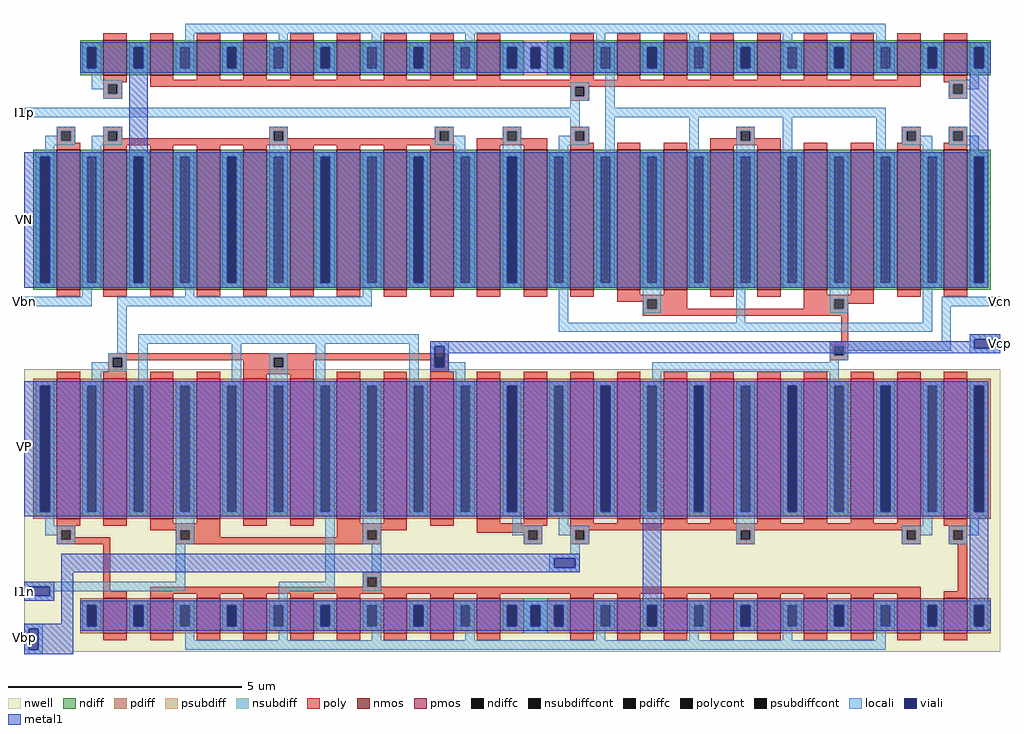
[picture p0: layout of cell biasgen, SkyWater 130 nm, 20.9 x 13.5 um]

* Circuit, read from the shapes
.subckt biasgen VP VN I1p Vbn I1n Vbp Vcp Vcn
XM1 Vbn VN VN VN sky130_fd_pr__nfet_01v8 w=3 l=0.5 m=2
XM2 VN Vbn Vbn VN sky130_fd_pr__nfet_01v8 w=3 l=0.5 m=4
XM3 VN VN VN VN sky130_fd_pr__nfet_01v8 w=0.75 l=0.5 m=2
XM4 Vcp Vbn VN VN sky130_fd_pr__nfet_01v8 w=3 l=0.5 m=4
XM5 n1 I1p VN VN sky130_fd_pr__nfet_01v8 w=0.75 l=0.5 m=16
XM6 I1p VN VN VN sky130_fd_pr__nfet_01v8 w=3 l=0.5 m=2
XM7 n1 I1p I1p VN sky130_fd_pr__nfet_01v8 w=3 l=0.5 m=4
XM8 Vcn Vcn n1 VN sky130_fd_pr__nfet_01v8 w=3 l=0.5 m=4
XM9 Vcp VP VP VP sky130_fd_pr__pfet_01v8 w=3 l=0.5 m=2
XM10 VP VP VP VP sky130_fd_pr__pfet_01v8 w=0.75 l=0.5 m=2
XM11 n2 Vcp Vcp VP sky130_fd_pr__pfet_01v8 w=3 l=0.5 m=4
XM12 n2 I1n VP VP sky130_fd_pr__pfet_01v8 w=0.75 l=0.5 m=16
XM13 I1n I1n n2 VP sky130_fd_pr__pfet_01v8 w=3 l=0.5 m=4
XM14 Vbp VP VP VP sky130_fd_pr__pfet_01v8 w=3 l=0.5 m=2
XM15 VP Vbp Vbp VP sky130_fd_pr__pfet_01v8 w=3 l=0.5 m=4
XM16 Vcn Vbp VP VP sky130_fd_pr__pfet_01v8 w=3 l=0.5 m=4
.ends

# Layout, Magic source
magic
tech sky130A
<< nwell >>
rect 60 -1495 2150 -890
rect 60 -1500 165 -1495
<< nmos >>
rect 230 -260 280 -185
rect 330 -260 380 -185
rect 430 -260 480 -185
rect 530 -260 580 -185
rect 630 -260 680 -185
rect 730 -260 780 -185
rect 830 -260 880 -185
rect 930 -260 980 -185
rect 1030 -260 1080 -185
rect 1230 -260 1280 -185
rect 1330 -260 1380 -185
rect 1430 -260 1480 -185
rect 1530 -260 1580 -185
rect 1630 -260 1680 -185
rect 1730 -260 1780 -185
rect 1830 -260 1880 -185
rect 1930 -260 1980 -185
rect 2030 -260 2080 -185
rect 130 -720 180 -420
rect 230 -720 280 -420
rect 330 -720 380 -420
rect 430 -720 480 -420
rect 530 -720 580 -420
rect 630 -720 680 -420
rect 730 -720 780 -420
rect 830 -720 880 -420
rect 930 -720 980 -420
rect 1030 -720 1080 -420
rect 1130 -720 1180 -420
rect 1230 -720 1280 -420
rect 1330 -720 1380 -420
rect 1430 -720 1480 -420
rect 1530 -720 1580 -420
rect 1630 -720 1680 -420
rect 1730 -720 1780 -420
rect 1830 -720 1880 -420
rect 1930 -720 1980 -420
rect 2030 -720 2080 -420
<< pmos >>
rect 130 -1210 180 -910
rect 230 -1210 280 -910
rect 330 -1210 380 -910
rect 430 -1210 480 -910
rect 530 -1210 580 -910
rect 630 -1210 680 -910
rect 730 -1210 780 -910
rect 830 -1210 880 -910
rect 930 -1210 980 -910
rect 1030 -1210 1080 -910
rect 1130 -1210 1180 -910
rect 1230 -1210 1280 -910
rect 1330 -1210 1380 -910
rect 1430 -1210 1480 -910
rect 1530 -1210 1580 -910
rect 1630 -1210 1680 -910
rect 1730 -1210 1780 -910
rect 1830 -1210 1880 -910
rect 1930 -1210 1980 -910
rect 2030 -1210 2080 -910
rect 230 -1455 280 -1380
rect 330 -1455 380 -1380
rect 430 -1455 480 -1380
rect 530 -1455 580 -1380
rect 630 -1455 680 -1380
rect 730 -1455 780 -1380
rect 830 -1455 880 -1380
rect 930 -1455 980 -1380
rect 1030 -1455 1080 -1380
rect 1230 -1455 1280 -1380
rect 1330 -1455 1380 -1380
rect 1430 -1455 1480 -1380
rect 1530 -1455 1580 -1380
rect 1630 -1455 1680 -1380
rect 1730 -1455 1780 -1380
rect 1830 -1455 1880 -1380
rect 1930 -1455 1980 -1380
rect 2030 -1455 2080 -1380
<< ndiff >>
rect 180 -200 230 -185
rect 180 -245 195 -200
rect 215 -245 230 -200
rect 180 -260 230 -245
rect 280 -200 330 -185
rect 280 -245 295 -200
rect 315 -245 330 -200
rect 280 -260 330 -245
rect 380 -200 430 -185
rect 380 -245 395 -200
rect 415 -245 430 -200
rect 380 -260 430 -245
rect 480 -200 530 -185
rect 480 -245 495 -200
rect 515 -245 530 -200
rect 480 -260 530 -245
rect 580 -200 630 -185
rect 580 -245 595 -200
rect 615 -245 630 -200
rect 580 -260 630 -245
rect 680 -200 730 -185
rect 680 -245 695 -200
rect 715 -245 730 -200
rect 680 -260 730 -245
rect 780 -200 830 -185
rect 780 -245 795 -200
rect 815 -245 830 -200
rect 780 -260 830 -245
rect 880 -200 930 -185
rect 880 -245 895 -200
rect 915 -245 930 -200
rect 880 -260 930 -245
rect 980 -200 1030 -185
rect 980 -245 995 -200
rect 1015 -245 1030 -200
rect 980 -260 1030 -245
rect 1080 -200 1130 -185
rect 1180 -200 1230 -185
rect 1080 -245 1095 -200
rect 1115 -245 1130 -200
rect 1180 -245 1195 -200
rect 1215 -245 1230 -200
rect 1080 -260 1130 -245
rect 1180 -260 1230 -245
rect 1280 -200 1330 -185
rect 1280 -245 1295 -200
rect 1315 -245 1330 -200
rect 1280 -260 1330 -245
rect 1380 -200 1430 -185
rect 1380 -245 1395 -200
rect 1415 -245 1430 -200
rect 1380 -260 1430 -245
rect 1480 -200 1530 -185
rect 1480 -245 1495 -200
rect 1515 -245 1530 -200
rect 1480 -260 1530 -245
rect 1580 -200 1630 -185
rect 1580 -245 1595 -200
rect 1615 -245 1630 -200
rect 1580 -260 1630 -245
rect 1680 -200 1730 -185
rect 1680 -245 1695 -200
rect 1715 -245 1730 -200
rect 1680 -260 1730 -245
rect 1780 -200 1830 -185
rect 1780 -245 1795 -200
rect 1815 -245 1830 -200
rect 1780 -260 1830 -245
rect 1880 -200 1930 -185
rect 1880 -245 1895 -200
rect 1915 -245 1930 -200
rect 1880 -260 1930 -245
rect 1980 -200 2030 -185
rect 1980 -245 1995 -200
rect 2015 -245 2030 -200
rect 1980 -260 2030 -245
rect 2080 -200 2130 -185
rect 2080 -245 2095 -200
rect 2115 -245 2130 -200
rect 2080 -260 2130 -245
rect 80 -435 130 -420
rect 80 -705 95 -435
rect 115 -705 130 -435
rect 80 -720 130 -705
rect 180 -435 230 -420
rect 180 -705 195 -435
rect 215 -705 230 -435
rect 180 -720 230 -705
rect 280 -435 330 -420
rect 280 -705 295 -435
rect 315 -705 330 -435
rect 280 -720 330 -705
rect 380 -435 430 -420
rect 380 -705 395 -435
rect 415 -705 430 -435
rect 380 -720 430 -705
rect 480 -435 530 -420
rect 480 -705 495 -435
rect 515 -705 530 -435
rect 480 -720 530 -705
rect 580 -435 630 -420
rect 580 -705 595 -435
rect 615 -705 630 -435
rect 580 -720 630 -705
rect 680 -435 730 -420
rect 680 -705 695 -435
rect 715 -705 730 -435
rect 680 -720 730 -705
rect 780 -435 830 -420
rect 780 -705 795 -435
rect 815 -705 830 -435
rect 780 -720 830 -705
rect 880 -435 930 -420
rect 880 -705 895 -435
rect 915 -705 930 -435
rect 880 -720 930 -705
rect 980 -435 1030 -420
rect 980 -705 995 -435
rect 1015 -705 1030 -435
rect 980 -720 1030 -705
rect 1080 -435 1130 -420
rect 1080 -705 1095 -435
rect 1115 -705 1130 -435
rect 1080 -720 1130 -705
rect 1180 -435 1230 -420
rect 1180 -705 1195 -435
rect 1215 -705 1230 -435
rect 1180 -720 1230 -705
rect 1280 -435 1330 -420
rect 1280 -705 1295 -435
rect 1315 -705 1330 -435
rect 1280 -720 1330 -705
rect 1380 -435 1430 -420
rect 1380 -705 1395 -435
rect 1415 -705 1430 -435
rect 1380 -720 1430 -705
rect 1480 -435 1530 -420
rect 1480 -705 1495 -435
rect 1515 -705 1530 -435
rect 1480 -720 1530 -705
rect 1580 -435 1630 -420
rect 1580 -705 1595 -435
rect 1615 -705 1630 -435
rect 1580 -720 1630 -705
rect 1680 -435 1730 -420
rect 1680 -705 1695 -435
rect 1715 -705 1730 -435
rect 1680 -720 1730 -705
rect 1780 -435 1830 -420
rect 1780 -705 1795 -435
rect 1815 -705 1830 -435
rect 1780 -720 1830 -705
rect 1880 -435 1930 -420
rect 1880 -705 1895 -435
rect 1915 -705 1930 -435
rect 1880 -720 1930 -705
rect 1980 -435 2030 -420
rect 1980 -705 1995 -435
rect 2015 -705 2030 -435
rect 1980 -720 2030 -705
rect 2080 -435 2130 -420
rect 2080 -705 2095 -435
rect 2115 -705 2130 -435
rect 2080 -720 2130 -705
<< pdiff >>
rect 80 -925 130 -910
rect 80 -1195 95 -925
rect 115 -1195 130 -925
rect 80 -1210 130 -1195
rect 180 -925 230 -910
rect 180 -1195 195 -925
rect 215 -1195 230 -925
rect 180 -1210 230 -1195
rect 280 -925 330 -910
rect 280 -1195 295 -925
rect 315 -1195 330 -925
rect 280 -1210 330 -1195
rect 380 -925 430 -910
rect 380 -1195 395 -925
rect 415 -1195 430 -925
rect 380 -1210 430 -1195
rect 480 -925 530 -910
rect 480 -1195 495 -925
rect 515 -1195 530 -925
rect 480 -1210 530 -1195
rect 580 -925 630 -910
rect 580 -1195 595 -925
rect 615 -1195 630 -925
rect 580 -1210 630 -1195
rect 680 -925 730 -910
rect 680 -1195 695 -925
rect 715 -1195 730 -925
rect 680 -1210 730 -1195
rect 780 -925 830 -910
rect 780 -1195 795 -925
rect 815 -1195 830 -925
rect 780 -1210 830 -1195
rect 880 -925 930 -910
rect 880 -1195 895 -925
rect 915 -1195 930 -925
rect 880 -1210 930 -1195
rect 980 -925 1030 -910
rect 980 -1195 995 -925
rect 1015 -1195 1030 -925
rect 980 -1210 1030 -1195
rect 1080 -925 1130 -910
rect 1080 -1195 1095 -925
rect 1115 -1195 1130 -925
rect 1080 -1210 1130 -1195
rect 1180 -925 1230 -910
rect 1180 -1195 1195 -925
rect 1215 -1195 1230 -925
rect 1180 -1210 1230 -1195
rect 1280 -925 1330 -910
rect 1280 -1195 1295 -925
rect 1315 -1195 1330 -925
rect 1280 -1210 1330 -1195
rect 1380 -925 1430 -910
rect 1380 -1195 1395 -925
rect 1415 -1195 1430 -925
rect 1380 -1210 1430 -1195
rect 1480 -925 1530 -910
rect 1480 -1195 1495 -925
rect 1515 -1195 1530 -925
rect 1480 -1210 1530 -1195
rect 1580 -925 1630 -910
rect 1580 -1195 1595 -925
rect 1615 -1195 1630 -925
rect 1580 -1210 1630 -1195
rect 1680 -925 1730 -910
rect 1680 -1195 1695 -925
rect 1715 -1195 1730 -925
rect 1680 -1210 1730 -1195
rect 1780 -925 1830 -910
rect 1780 -1195 1795 -925
rect 1815 -1195 1830 -925
rect 1780 -1210 1830 -1195
rect 1880 -925 1930 -910
rect 1880 -1195 1895 -925
rect 1915 -1195 1930 -925
rect 1880 -1210 1930 -1195
rect 1980 -925 2030 -910
rect 1980 -1195 1995 -925
rect 2015 -1195 2030 -925
rect 1980 -1210 2030 -1195
rect 2080 -925 2130 -910
rect 2080 -1195 2095 -925
rect 2115 -1195 2130 -925
rect 2080 -1210 2130 -1195
rect 180 -1395 230 -1380
rect 180 -1440 195 -1395
rect 215 -1440 230 -1395
rect 180 -1455 230 -1440
rect 280 -1395 330 -1380
rect 280 -1440 295 -1395
rect 315 -1440 330 -1395
rect 280 -1455 330 -1440
rect 380 -1395 430 -1380
rect 380 -1440 395 -1395
rect 415 -1440 430 -1395
rect 380 -1455 430 -1440
rect 480 -1395 530 -1380
rect 480 -1440 495 -1395
rect 515 -1440 530 -1395
rect 480 -1455 530 -1440
rect 580 -1395 630 -1380
rect 580 -1440 595 -1395
rect 615 -1440 630 -1395
rect 580 -1455 630 -1440
rect 680 -1395 730 -1380
rect 680 -1440 695 -1395
rect 715 -1440 730 -1395
rect 680 -1455 730 -1440
rect 780 -1395 830 -1380
rect 780 -1440 795 -1395
rect 815 -1440 830 -1395
rect 780 -1455 830 -1440
rect 880 -1395 930 -1380
rect 880 -1440 895 -1395
rect 915 -1440 930 -1395
rect 880 -1455 930 -1440
rect 980 -1395 1030 -1380
rect 980 -1440 995 -1395
rect 1015 -1440 1030 -1395
rect 980 -1455 1030 -1440
rect 1080 -1395 1130 -1380
rect 1180 -1395 1230 -1380
rect 1080 -1440 1095 -1395
rect 1115 -1440 1130 -1395
rect 1180 -1440 1195 -1395
rect 1215 -1440 1230 -1395
rect 1080 -1455 1130 -1440
rect 1180 -1455 1230 -1440
rect 1280 -1395 1330 -1380
rect 1280 -1440 1295 -1395
rect 1315 -1440 1330 -1395
rect 1280 -1455 1330 -1440
rect 1380 -1395 1430 -1380
rect 1380 -1440 1395 -1395
rect 1415 -1440 1430 -1395
rect 1380 -1455 1430 -1440
rect 1480 -1395 1530 -1380
rect 1480 -1440 1495 -1395
rect 1515 -1440 1530 -1395
rect 1480 -1455 1530 -1440
rect 1580 -1395 1630 -1380
rect 1580 -1440 1595 -1395
rect 1615 -1440 1630 -1395
rect 1580 -1455 1630 -1440
rect 1680 -1395 1730 -1380
rect 1680 -1440 1695 -1395
rect 1715 -1440 1730 -1395
rect 1680 -1455 1730 -1440
rect 1780 -1395 1830 -1380
rect 1780 -1440 1795 -1395
rect 1815 -1440 1830 -1395
rect 1780 -1455 1830 -1440
rect 1880 -1395 1930 -1380
rect 1880 -1440 1895 -1395
rect 1915 -1440 1930 -1395
rect 1880 -1455 1930 -1440
rect 1980 -1395 2030 -1380
rect 1980 -1440 1995 -1395
rect 2015 -1440 2030 -1395
rect 1980 -1455 2030 -1440
rect 2080 -1395 2130 -1380
rect 2080 -1440 2095 -1395
rect 2115 -1440 2130 -1395
rect 2080 -1455 2130 -1440
<< ndiffc >>
rect 195 -245 215 -200
rect 295 -245 315 -200
rect 395 -245 415 -200
rect 495 -245 515 -200
rect 595 -245 615 -200
rect 695 -245 715 -200
rect 795 -245 815 -200
rect 895 -245 915 -200
rect 995 -245 1015 -200
rect 1095 -245 1115 -200
rect 1195 -245 1215 -200
rect 1295 -245 1315 -200
rect 1395 -245 1415 -200
rect 1495 -245 1515 -200
rect 1595 -245 1615 -200
rect 1695 -245 1715 -200
rect 1795 -245 1815 -200
rect 1895 -245 1915 -200
rect 1995 -245 2015 -200
rect 2095 -245 2115 -200
rect 95 -705 115 -435
rect 195 -705 215 -435
rect 295 -705 315 -435
rect 395 -705 415 -435
rect 495 -705 515 -435
rect 595 -705 615 -435
rect 695 -705 715 -435
rect 795 -705 815 -435
rect 895 -705 915 -435
rect 995 -705 1015 -435
rect 1095 -705 1115 -435
rect 1195 -705 1215 -435
rect 1295 -705 1315 -435
rect 1395 -705 1415 -435
rect 1495 -705 1515 -435
rect 1595 -705 1615 -435
rect 1695 -705 1715 -435
rect 1795 -705 1815 -435
rect 1895 -705 1915 -435
rect 1995 -705 2015 -435
rect 2095 -705 2115 -435
<< pdiffc >>
rect 95 -1195 115 -925
rect 195 -1195 215 -925
rect 295 -1195 315 -925
rect 395 -1195 415 -925
rect 495 -1195 515 -925
rect 595 -1195 615 -925
rect 695 -1195 715 -925
rect 795 -1195 815 -925
rect 895 -1195 915 -925
rect 995 -1195 1015 -925
rect 1095 -1195 1115 -925
rect 1195 -1195 1215 -925
rect 1295 -1195 1315 -925
rect 1395 -1195 1415 -925
rect 1495 -1195 1515 -925
rect 1595 -1195 1615 -925
rect 1695 -1195 1715 -925
rect 1795 -1195 1815 -925
rect 1895 -1195 1915 -925
rect 1995 -1195 2015 -925
rect 2095 -1195 2115 -925
rect 195 -1440 215 -1395
rect 295 -1440 315 -1395
rect 395 -1440 415 -1395
rect 495 -1440 515 -1395
rect 595 -1440 615 -1395
rect 695 -1440 715 -1395
rect 795 -1440 815 -1395
rect 895 -1440 915 -1395
rect 995 -1440 1015 -1395
rect 1095 -1440 1115 -1395
rect 1195 -1440 1215 -1395
rect 1295 -1440 1315 -1395
rect 1395 -1440 1415 -1395
rect 1495 -1440 1515 -1395
rect 1595 -1440 1615 -1395
rect 1695 -1440 1715 -1395
rect 1795 -1440 1815 -1395
rect 1895 -1440 1915 -1395
rect 1995 -1440 2015 -1395
rect 2095 -1440 2115 -1395
<< psubdiff >>
rect 1130 -200 1180 -185
rect 1130 -245 1145 -200
rect 1165 -245 1180 -200
rect 1130 -260 1180 -245
<< nsubdiff >>
rect 1130 -1395 1180 -1380
rect 1130 -1440 1145 -1395
rect 1165 -1440 1180 -1395
rect 1130 -1455 1180 -1440
<< psubdiffcont >>
rect 1145 -245 1165 -200
<< nsubdiffcont >>
rect 1145 -1440 1165 -1395
<< poly >>
rect 230 -185 280 -170
rect 330 -185 380 -170
rect 430 -185 480 -170
rect 530 -185 580 -170
rect 630 -185 680 -170
rect 730 -185 780 -170
rect 830 -185 880 -170
rect 930 -185 980 -170
rect 1030 -185 1080 -170
rect 1230 -185 1280 -170
rect 1330 -185 1380 -170
rect 1430 -185 1480 -170
rect 1530 -185 1580 -170
rect 1630 -185 1680 -170
rect 1730 -185 1780 -170
rect 1830 -185 1880 -170
rect 1930 -185 1980 -170
rect 2030 -185 2080 -170
rect 230 -275 280 -260
rect 330 -270 380 -260
rect 430 -270 480 -260
rect 530 -270 580 -260
rect 630 -270 680 -260
rect 730 -270 780 -260
rect 830 -270 880 -260
rect 930 -270 980 -260
rect 1030 -270 1080 -260
rect 1230 -270 1280 -260
rect 1330 -270 1380 -260
rect 1430 -270 1480 -260
rect 1530 -270 1580 -260
rect 1630 -270 1680 -260
rect 1730 -270 1780 -260
rect 1830 -270 1880 -260
rect 1930 -270 1980 -260
rect 230 -280 270 -275
rect 230 -300 240 -280
rect 260 -300 270 -280
rect 330 -285 1980 -270
rect 2030 -275 2080 -260
rect 2040 -280 2080 -275
rect 230 -310 270 -300
rect 1230 -305 1240 -285
rect 1260 -305 1270 -285
rect 1230 -315 1270 -305
rect 2040 -300 2050 -280
rect 2070 -300 2080 -280
rect 2040 -310 2080 -300
rect 130 -380 170 -370
rect 130 -400 140 -380
rect 160 -400 170 -380
rect 130 -405 170 -400
rect 230 -380 270 -370
rect 230 -400 240 -380
rect 260 -395 270 -380
rect 585 -380 625 -370
rect 585 -395 595 -380
rect 260 -400 595 -395
rect 615 -395 625 -380
rect 940 -380 980 -370
rect 940 -395 950 -380
rect 615 -400 950 -395
rect 970 -400 980 -380
rect 1085 -380 1125 -370
rect 1085 -395 1095 -380
rect 130 -420 180 -405
rect 230 -410 980 -400
rect 230 -420 280 -410
rect 330 -420 380 -410
rect 430 -420 480 -410
rect 530 -420 580 -410
rect 630 -420 680 -410
rect 730 -420 780 -410
rect 830 -420 880 -410
rect 930 -420 980 -410
rect 1030 -400 1095 -395
rect 1115 -395 1125 -380
rect 1230 -380 1270 -370
rect 1115 -400 1180 -395
rect 1030 -410 1180 -400
rect 1030 -420 1080 -410
rect 1130 -420 1180 -410
rect 1230 -400 1240 -380
rect 1260 -400 1270 -380
rect 1585 -380 1625 -370
rect 1585 -395 1595 -380
rect 1230 -405 1270 -400
rect 1530 -400 1595 -395
rect 1615 -395 1625 -380
rect 1940 -380 1980 -370
rect 1615 -400 1680 -395
rect 1230 -420 1280 -405
rect 1330 -420 1380 -405
rect 1430 -420 1480 -405
rect 1530 -410 1680 -400
rect 1940 -400 1950 -380
rect 1970 -400 1980 -380
rect 1940 -405 1980 -400
rect 2040 -380 2080 -370
rect 2040 -400 2050 -380
rect 2070 -400 2080 -380
rect 2040 -405 2080 -400
rect 1530 -420 1580 -410
rect 1630 -420 1680 -410
rect 1730 -420 1780 -405
rect 1830 -420 1880 -405
rect 1930 -420 1980 -405
rect 2030 -420 2080 -405
rect 130 -735 180 -720
rect 230 -735 280 -720
rect 330 -735 380 -720
rect 430 -735 480 -720
rect 530 -735 580 -720
rect 630 -735 680 -720
rect 730 -735 780 -720
rect 830 -735 880 -720
rect 930 -735 980 -720
rect 1030 -735 1080 -720
rect 1130 -735 1180 -720
rect 1230 -735 1280 -720
rect 1330 -730 1380 -720
rect 1430 -730 1480 -720
rect 1330 -740 1480 -730
rect 1530 -735 1580 -720
rect 1630 -735 1680 -720
rect 1730 -730 1780 -720
rect 1830 -730 1880 -720
rect 1330 -745 1395 -740
rect 1385 -760 1395 -745
rect 1415 -760 1480 -740
rect 1730 -740 1880 -730
rect 1930 -735 1980 -720
rect 2030 -735 2080 -720
rect 1730 -760 1795 -740
rect 1815 -750 1880 -740
rect 1815 -760 1825 -750
rect 1385 -775 1825 -760
rect 1810 -830 1825 -775
rect 1785 -840 1825 -830
rect 240 -865 970 -855
rect 240 -885 250 -865
rect 270 -870 595 -865
rect 270 -885 280 -870
rect 240 -895 280 -885
rect 530 -885 595 -870
rect 615 -870 940 -865
rect 615 -885 680 -870
rect 130 -910 180 -895
rect 230 -910 280 -895
rect 330 -910 380 -895
rect 430 -910 480 -895
rect 530 -900 680 -885
rect 930 -885 940 -870
rect 960 -885 970 -865
rect 1785 -860 1795 -840
rect 1815 -860 1825 -840
rect 1785 -870 1825 -860
rect 930 -895 970 -885
rect 530 -910 580 -900
rect 630 -910 680 -900
rect 730 -910 780 -895
rect 830 -910 880 -895
rect 930 -910 980 -895
rect 1030 -910 1080 -895
rect 1130 -910 1180 -895
rect 1230 -910 1280 -895
rect 1330 -910 1380 -895
rect 1430 -910 1480 -895
rect 1530 -910 1580 -895
rect 1630 -910 1680 -895
rect 1730 -910 1780 -895
rect 1830 -910 1880 -895
rect 1930 -910 1980 -895
rect 2030 -910 2080 -895
rect 130 -1225 180 -1210
rect 230 -1225 280 -1210
rect 330 -1220 380 -1210
rect 430 -1220 480 -1210
rect 130 -1235 170 -1225
rect 330 -1235 480 -1220
rect 530 -1225 580 -1210
rect 630 -1225 680 -1210
rect 730 -1220 780 -1210
rect 830 -1220 880 -1210
rect 130 -1255 140 -1235
rect 160 -1250 170 -1235
rect 160 -1255 245 -1250
rect 130 -1265 245 -1255
rect 385 -1255 395 -1235
rect 415 -1250 480 -1235
rect 730 -1235 880 -1220
rect 930 -1225 980 -1210
rect 1030 -1220 1080 -1210
rect 1130 -1220 1180 -1210
rect 1030 -1225 1180 -1220
rect 1230 -1220 1280 -1210
rect 1330 -1220 1380 -1210
rect 1430 -1220 1480 -1210
rect 1530 -1220 1580 -1210
rect 1630 -1220 1680 -1210
rect 1730 -1220 1780 -1210
rect 1830 -1220 1880 -1210
rect 1930 -1220 1980 -1210
rect 1030 -1235 1170 -1225
rect 730 -1250 795 -1235
rect 415 -1255 795 -1250
rect 815 -1255 825 -1235
rect 1030 -1240 1140 -1235
rect 385 -1265 825 -1255
rect 1130 -1255 1140 -1240
rect 1160 -1255 1170 -1235
rect 1130 -1265 1170 -1255
rect 1230 -1235 1980 -1220
rect 2030 -1225 2080 -1210
rect 1230 -1255 1240 -1235
rect 1260 -1255 1270 -1235
rect 1230 -1265 1270 -1255
rect 1585 -1255 1595 -1235
rect 1615 -1255 1625 -1235
rect 1585 -1265 1625 -1255
rect 1940 -1255 1950 -1235
rect 1970 -1255 1980 -1235
rect 1940 -1265 1980 -1255
rect 2040 -1235 2080 -1225
rect 2040 -1255 2050 -1235
rect 2070 -1255 2080 -1235
rect 2040 -1265 2080 -1255
rect 230 -1365 245 -1265
rect 785 -1335 825 -1325
rect 785 -1355 795 -1335
rect 815 -1355 825 -1335
rect 230 -1380 280 -1365
rect 330 -1370 1980 -1355
rect 2060 -1365 2080 -1265
rect 330 -1380 380 -1370
rect 430 -1380 480 -1370
rect 530 -1380 580 -1370
rect 630 -1380 680 -1370
rect 730 -1380 780 -1370
rect 830 -1380 880 -1370
rect 930 -1380 980 -1370
rect 1030 -1380 1080 -1370
rect 1230 -1380 1280 -1370
rect 1330 -1380 1380 -1370
rect 1430 -1380 1480 -1370
rect 1530 -1380 1580 -1370
rect 1630 -1380 1680 -1370
rect 1730 -1380 1780 -1370
rect 1830 -1380 1880 -1370
rect 1930 -1380 1980 -1370
rect 2030 -1380 2080 -1365
rect 230 -1470 280 -1455
rect 330 -1470 380 -1455
rect 430 -1470 480 -1455
rect 530 -1470 580 -1455
rect 630 -1470 680 -1455
rect 730 -1470 780 -1455
rect 830 -1470 880 -1455
rect 930 -1470 980 -1455
rect 1030 -1470 1080 -1455
rect 1230 -1470 1280 -1455
rect 1330 -1470 1380 -1455
rect 1430 -1470 1480 -1455
rect 1530 -1470 1580 -1455
rect 1630 -1470 1680 -1455
rect 1730 -1470 1780 -1455
rect 1830 -1470 1880 -1455
rect 1930 -1470 1980 -1455
rect 2030 -1470 2080 -1455
<< polycont >>
rect 240 -300 260 -280
rect 1240 -305 1260 -285
rect 2050 -300 2070 -280
rect 140 -400 160 -380
rect 240 -400 260 -380
rect 595 -400 615 -380
rect 950 -400 970 -380
rect 1095 -400 1115 -380
rect 1240 -400 1260 -380
rect 1595 -400 1615 -380
rect 1950 -400 1970 -380
rect 2050 -400 2070 -380
rect 1395 -760 1415 -740
rect 1795 -760 1815 -740
rect 250 -885 270 -865
rect 595 -885 615 -865
rect 940 -885 960 -865
rect 1795 -860 1815 -840
rect 140 -1255 160 -1235
rect 395 -1255 415 -1235
rect 795 -1255 815 -1235
rect 1140 -1255 1160 -1235
rect 1240 -1255 1260 -1235
rect 1595 -1255 1615 -1235
rect 1950 -1255 1970 -1235
rect 2050 -1255 2070 -1235
rect 795 -1355 815 -1335
<< locali >>
rect 405 -170 1905 -150
rect 405 -190 425 -170
rect 605 -190 625 -170
rect 805 -190 825 -170
rect 1005 -190 1025 -170
rect 1285 -190 1305 -170
rect 1485 -190 1505 -170
rect 1685 -190 1705 -170
rect 1885 -190 1905 -170
rect 185 -200 225 -190
rect 185 -245 195 -200
rect 215 -245 225 -200
rect 185 -255 225 -245
rect 285 -200 325 -190
rect 285 -245 295 -200
rect 315 -245 325 -200
rect 285 -255 325 -245
rect 385 -200 425 -190
rect 385 -245 395 -200
rect 415 -245 425 -200
rect 385 -255 425 -245
rect 485 -200 525 -190
rect 485 -245 495 -200
rect 515 -245 525 -200
rect 485 -255 525 -245
rect 585 -200 625 -190
rect 585 -245 595 -200
rect 615 -245 625 -200
rect 585 -255 625 -245
rect 685 -200 725 -190
rect 685 -245 695 -200
rect 715 -245 725 -200
rect 685 -255 725 -245
rect 785 -200 825 -190
rect 785 -245 795 -200
rect 815 -245 825 -200
rect 785 -255 825 -245
rect 885 -200 925 -190
rect 885 -245 895 -200
rect 915 -245 925 -200
rect 885 -255 925 -245
rect 985 -200 1025 -190
rect 985 -245 995 -200
rect 1015 -245 1025 -200
rect 985 -255 1025 -245
rect 1085 -200 1225 -190
rect 1085 -245 1095 -200
rect 1115 -245 1145 -200
rect 1165 -245 1195 -200
rect 1215 -245 1225 -200
rect 1085 -255 1225 -245
rect 1285 -200 1325 -190
rect 1285 -245 1295 -200
rect 1315 -245 1325 -200
rect 1285 -255 1325 -245
rect 1385 -200 1425 -190
rect 1385 -245 1395 -200
rect 1415 -245 1425 -200
rect 1385 -255 1425 -245
rect 1485 -200 1525 -190
rect 1485 -245 1495 -200
rect 1515 -245 1525 -200
rect 1485 -255 1525 -245
rect 1585 -200 1625 -190
rect 1585 -245 1595 -200
rect 1615 -245 1625 -200
rect 1585 -255 1625 -245
rect 1685 -200 1725 -190
rect 1685 -245 1695 -200
rect 1715 -245 1725 -200
rect 1685 -255 1725 -245
rect 1785 -200 1825 -190
rect 1785 -245 1795 -200
rect 1815 -245 1825 -200
rect 1785 -255 1825 -245
rect 1885 -200 1925 -190
rect 1885 -245 1895 -200
rect 1915 -245 1925 -200
rect 1885 -255 1925 -245
rect 1985 -200 2025 -190
rect 1985 -245 1995 -200
rect 2015 -245 2025 -200
rect 1985 -255 2025 -245
rect 2085 -200 2125 -190
rect 2085 -245 2095 -200
rect 2115 -245 2125 -200
rect 2085 -255 2125 -245
rect 205 -270 225 -255
rect 205 -280 270 -270
rect 205 -290 240 -280
rect 230 -300 240 -290
rect 260 -300 270 -280
rect 230 -310 270 -300
rect 1230 -285 1270 -275
rect 1230 -305 1240 -285
rect 1260 -305 1270 -285
rect 1230 -315 1270 -305
rect 1230 -330 1250 -315
rect 60 -350 1250 -330
rect 1230 -370 1250 -350
rect 1305 -330 1325 -255
rect 2085 -270 2105 -255
rect 2040 -280 2105 -270
rect 2040 -300 2050 -280
rect 2070 -290 2105 -280
rect 2070 -300 2080 -290
rect 2040 -310 2080 -300
rect 1305 -350 1905 -330
rect 130 -380 170 -370
rect 130 -390 140 -380
rect 105 -400 140 -390
rect 160 -400 170 -380
rect 230 -380 270 -370
rect 230 -390 240 -380
rect 105 -410 170 -400
rect 205 -400 240 -390
rect 260 -400 270 -380
rect 205 -410 270 -400
rect 585 -380 625 -370
rect 585 -400 595 -380
rect 615 -400 625 -380
rect 105 -425 125 -410
rect 205 -425 225 -410
rect 85 -435 125 -425
rect 85 -705 95 -435
rect 115 -705 125 -435
rect 85 -715 125 -705
rect 185 -435 225 -425
rect 185 -705 195 -435
rect 215 -705 225 -435
rect 185 -715 225 -705
rect 285 -435 325 -425
rect 285 -705 295 -435
rect 315 -705 325 -435
rect 285 -715 325 -705
rect 385 -435 425 -425
rect 385 -705 395 -435
rect 415 -705 425 -435
rect 385 -715 425 -705
rect 485 -435 525 -425
rect 485 -705 495 -435
rect 515 -705 525 -435
rect 485 -715 525 -705
rect 585 -435 625 -400
rect 940 -380 980 -370
rect 940 -400 950 -380
rect 970 -390 980 -380
rect 1085 -380 1125 -370
rect 970 -400 1005 -390
rect 940 -410 1005 -400
rect 985 -425 1005 -410
rect 1085 -400 1095 -380
rect 1115 -400 1125 -380
rect 1230 -380 1270 -370
rect 1230 -390 1240 -380
rect 585 -705 595 -435
rect 615 -705 625 -435
rect 585 -715 625 -705
rect 685 -435 725 -425
rect 685 -705 695 -435
rect 715 -705 725 -435
rect 685 -715 725 -705
rect 785 -435 825 -425
rect 785 -705 795 -435
rect 815 -705 825 -435
rect 785 -715 825 -705
rect 885 -435 925 -425
rect 885 -705 895 -435
rect 915 -705 925 -435
rect 885 -715 925 -705
rect 985 -435 1025 -425
rect 985 -705 995 -435
rect 1015 -705 1025 -435
rect 985 -715 1025 -705
rect 1085 -435 1125 -400
rect 1205 -400 1240 -390
rect 1260 -400 1270 -380
rect 1205 -410 1270 -400
rect 1205 -425 1225 -410
rect 1305 -425 1325 -350
rect 1485 -425 1505 -350
rect 1585 -380 1625 -370
rect 1585 -400 1595 -380
rect 1615 -400 1625 -380
rect 1085 -705 1095 -435
rect 1115 -705 1125 -435
rect 1085 -715 1125 -705
rect 1185 -435 1225 -425
rect 1185 -705 1195 -435
rect 1215 -705 1225 -435
rect 1185 -715 1225 -705
rect 1285 -435 1325 -425
rect 1285 -705 1295 -435
rect 1315 -705 1325 -435
rect 1285 -715 1325 -705
rect 1385 -435 1425 -425
rect 1385 -705 1395 -435
rect 1415 -705 1425 -435
rect 185 -735 205 -715
rect 405 -735 425 -715
rect 785 -735 805 -715
rect 60 -755 205 -735
rect 260 -755 805 -735
rect 260 -855 280 -755
rect 1205 -790 1225 -715
rect 1385 -740 1425 -705
rect 1485 -435 1525 -425
rect 1485 -705 1495 -435
rect 1515 -705 1525 -435
rect 1485 -715 1525 -705
rect 1585 -435 1625 -400
rect 1585 -705 1595 -435
rect 1615 -705 1625 -435
rect 1585 -715 1625 -705
rect 1685 -425 1705 -350
rect 1885 -425 1905 -350
rect 1940 -380 1980 -370
rect 1940 -400 1950 -380
rect 1970 -390 1980 -380
rect 2040 -380 2080 -370
rect 1970 -400 2005 -390
rect 1940 -410 2005 -400
rect 2040 -400 2050 -380
rect 2070 -390 2080 -380
rect 2070 -400 2105 -390
rect 2040 -410 2105 -400
rect 1985 -425 2005 -410
rect 2085 -425 2105 -410
rect 1685 -435 1725 -425
rect 1685 -705 1695 -435
rect 1715 -705 1725 -435
rect 1685 -715 1725 -705
rect 1785 -435 1825 -425
rect 1785 -705 1795 -435
rect 1815 -705 1825 -435
rect 1385 -760 1395 -740
rect 1415 -760 1425 -740
rect 1385 -770 1425 -760
rect 1585 -790 1605 -715
rect 1785 -740 1825 -705
rect 1885 -435 1925 -425
rect 1885 -705 1895 -435
rect 1915 -705 1925 -435
rect 1885 -715 1925 -705
rect 1985 -435 2025 -425
rect 1985 -705 1995 -435
rect 2015 -705 2025 -435
rect 1985 -715 2025 -705
rect 2085 -435 2125 -425
rect 2085 -705 2095 -435
rect 2115 -705 2125 -435
rect 2085 -715 2125 -705
rect 1785 -760 1795 -740
rect 1815 -760 1825 -740
rect 1785 -770 1825 -760
rect 1985 -790 2005 -715
rect 1205 -810 2005 -790
rect 2025 -755 2150 -735
rect 240 -865 280 -855
rect 240 -875 250 -865
rect 205 -885 250 -875
rect 270 -885 280 -865
rect 205 -895 280 -885
rect 305 -835 905 -815
rect 2025 -830 2045 -755
rect 205 -915 225 -895
rect 305 -915 325 -835
rect 505 -915 525 -835
rect 85 -925 125 -915
rect 85 -1195 95 -925
rect 115 -1195 125 -925
rect 85 -1205 125 -1195
rect 185 -925 225 -915
rect 185 -1195 195 -925
rect 215 -1195 225 -925
rect 185 -1205 225 -1195
rect 285 -925 325 -915
rect 285 -1195 295 -925
rect 315 -1195 325 -925
rect 285 -1205 325 -1195
rect 385 -925 425 -915
rect 385 -1195 395 -925
rect 415 -1195 425 -925
rect 105 -1225 125 -1205
rect 105 -1235 170 -1225
rect 105 -1245 140 -1235
rect 130 -1255 140 -1245
rect 160 -1255 170 -1235
rect 130 -1265 170 -1255
rect 385 -1235 425 -1195
rect 485 -925 525 -915
rect 485 -1195 495 -925
rect 515 -1195 525 -925
rect 485 -1205 525 -1195
rect 585 -865 625 -855
rect 585 -885 595 -865
rect 615 -885 625 -865
rect 585 -925 625 -885
rect 585 -1195 595 -925
rect 615 -1195 625 -925
rect 585 -1205 625 -1195
rect 685 -915 705 -835
rect 885 -915 905 -835
rect 930 -840 970 -830
rect 930 -885 940 -840
rect 960 -875 970 -840
rect 1785 -840 2045 -830
rect 1785 -860 1795 -840
rect 1815 -850 2045 -840
rect 2085 -825 2150 -815
rect 2085 -845 2095 -825
rect 2140 -845 2150 -825
rect 1815 -860 1825 -850
rect 2085 -855 2150 -845
rect 1785 -870 1825 -860
rect 1785 -875 1805 -870
rect 960 -885 1005 -875
rect 930 -895 1005 -885
rect 985 -915 1005 -895
rect 1405 -895 1805 -875
rect 1405 -915 1425 -895
rect 1785 -915 1805 -895
rect 685 -925 725 -915
rect 685 -1195 695 -925
rect 715 -1195 725 -925
rect 685 -1205 725 -1195
rect 385 -1255 395 -1235
rect 415 -1255 425 -1235
rect 385 -1265 425 -1255
rect 385 -1345 405 -1265
rect 705 -1345 725 -1205
rect 785 -925 825 -915
rect 785 -1195 795 -925
rect 815 -1195 825 -925
rect 785 -1235 825 -1195
rect 885 -925 925 -915
rect 885 -1195 895 -925
rect 915 -1195 925 -925
rect 885 -1205 925 -1195
rect 985 -925 1025 -915
rect 985 -1195 995 -925
rect 1015 -1195 1025 -925
rect 985 -1205 1025 -1195
rect 1085 -925 1125 -915
rect 1085 -1195 1095 -925
rect 1115 -1195 1125 -925
rect 1085 -1205 1125 -1195
rect 1185 -925 1225 -915
rect 1185 -1195 1195 -925
rect 1215 -1195 1225 -925
rect 1185 -1205 1225 -1195
rect 1285 -925 1325 -915
rect 1285 -1195 1295 -925
rect 1315 -1195 1325 -925
rect 1285 -1205 1325 -1195
rect 1385 -925 1425 -915
rect 1385 -1195 1395 -925
rect 1415 -1195 1425 -925
rect 1385 -1205 1425 -1195
rect 1485 -925 1525 -915
rect 1485 -1195 1495 -925
rect 1515 -1195 1525 -925
rect 1485 -1205 1525 -1195
rect 1585 -925 1625 -915
rect 1585 -1195 1595 -925
rect 1615 -1195 1625 -925
rect 785 -1255 795 -1235
rect 815 -1255 825 -1235
rect 1105 -1225 1125 -1205
rect 1205 -1225 1225 -1205
rect 1105 -1235 1170 -1225
rect 1105 -1245 1140 -1235
rect 785 -1265 825 -1255
rect 1130 -1255 1140 -1245
rect 1160 -1255 1170 -1235
rect 1205 -1235 1270 -1225
rect 1205 -1245 1240 -1235
rect 1130 -1265 1170 -1255
rect 1230 -1255 1240 -1245
rect 1260 -1255 1270 -1235
rect 1230 -1265 1270 -1255
rect 1585 -1235 1625 -1195
rect 1685 -925 1725 -915
rect 1685 -1195 1695 -925
rect 1715 -1195 1725 -925
rect 1685 -1205 1725 -1195
rect 1785 -925 1825 -915
rect 1785 -1195 1795 -925
rect 1815 -1195 1825 -925
rect 1785 -1205 1825 -1195
rect 1885 -925 1925 -915
rect 1885 -1195 1895 -925
rect 1915 -1195 1925 -925
rect 1885 -1205 1925 -1195
rect 1985 -925 2025 -915
rect 1985 -1195 1995 -925
rect 2015 -1195 2025 -925
rect 1985 -1205 2025 -1195
rect 2085 -925 2125 -915
rect 2085 -1195 2095 -925
rect 2115 -1195 2125 -925
rect 2085 -1205 2125 -1195
rect 1985 -1225 2005 -1205
rect 2085 -1225 2105 -1205
rect 1585 -1255 1595 -1235
rect 1615 -1255 1625 -1235
rect 1585 -1265 1625 -1255
rect 1940 -1235 2005 -1225
rect 1940 -1255 1950 -1235
rect 1970 -1245 2005 -1235
rect 2040 -1235 2105 -1225
rect 1970 -1255 1980 -1245
rect 1940 -1265 1980 -1255
rect 2040 -1255 2050 -1235
rect 2070 -1245 2105 -1235
rect 2070 -1255 2080 -1245
rect 2040 -1265 2080 -1255
rect 805 -1325 825 -1265
rect 1230 -1285 1250 -1265
rect 1185 -1295 1250 -1285
rect 1185 -1315 1195 -1295
rect 1240 -1315 1250 -1295
rect 1185 -1325 1250 -1315
rect 60 -1355 405 -1345
rect 60 -1375 70 -1355
rect 115 -1365 405 -1355
rect 605 -1365 725 -1345
rect 785 -1335 825 -1325
rect 785 -1355 795 -1335
rect 815 -1355 825 -1335
rect 785 -1365 825 -1355
rect 115 -1375 125 -1365
rect 60 -1385 125 -1375
rect 605 -1385 625 -1365
rect 185 -1395 225 -1385
rect 60 -1445 100 -1435
rect 60 -1490 70 -1445
rect 90 -1490 100 -1445
rect 185 -1440 195 -1395
rect 215 -1440 225 -1395
rect 185 -1450 225 -1440
rect 285 -1395 325 -1385
rect 285 -1440 295 -1395
rect 315 -1440 325 -1395
rect 285 -1450 325 -1440
rect 385 -1395 425 -1385
rect 385 -1440 395 -1395
rect 415 -1440 425 -1395
rect 385 -1450 425 -1440
rect 485 -1395 525 -1385
rect 485 -1440 495 -1395
rect 515 -1440 525 -1395
rect 485 -1450 525 -1440
rect 585 -1395 625 -1385
rect 585 -1440 595 -1395
rect 615 -1440 625 -1395
rect 585 -1450 625 -1440
rect 685 -1395 725 -1385
rect 685 -1440 695 -1395
rect 715 -1440 725 -1395
rect 685 -1450 725 -1440
rect 785 -1395 825 -1385
rect 785 -1440 795 -1395
rect 815 -1440 825 -1395
rect 785 -1450 825 -1440
rect 885 -1395 925 -1385
rect 885 -1440 895 -1395
rect 915 -1440 925 -1395
rect 885 -1450 925 -1440
rect 985 -1395 1025 -1385
rect 985 -1440 995 -1395
rect 1015 -1440 1025 -1395
rect 985 -1450 1025 -1440
rect 1085 -1395 1225 -1385
rect 1085 -1440 1095 -1395
rect 1115 -1440 1145 -1395
rect 1165 -1440 1195 -1395
rect 1215 -1440 1225 -1395
rect 1085 -1450 1225 -1440
rect 1285 -1395 1325 -1385
rect 1285 -1440 1295 -1395
rect 1315 -1440 1325 -1395
rect 1285 -1450 1325 -1440
rect 1385 -1395 1425 -1385
rect 1385 -1440 1395 -1395
rect 1415 -1440 1425 -1395
rect 1385 -1450 1425 -1440
rect 1485 -1395 1525 -1385
rect 1485 -1440 1495 -1395
rect 1515 -1440 1525 -1395
rect 1485 -1450 1525 -1440
rect 1585 -1395 1625 -1385
rect 1585 -1440 1595 -1395
rect 1615 -1440 1625 -1395
rect 1585 -1450 1625 -1440
rect 1685 -1395 1725 -1385
rect 1685 -1440 1695 -1395
rect 1715 -1440 1725 -1395
rect 1685 -1450 1725 -1440
rect 1785 -1395 1825 -1385
rect 1785 -1440 1795 -1395
rect 1815 -1440 1825 -1395
rect 1785 -1450 1825 -1440
rect 1885 -1395 1925 -1385
rect 1885 -1440 1895 -1395
rect 1915 -1440 1925 -1395
rect 1885 -1450 1925 -1440
rect 1985 -1395 2025 -1385
rect 1985 -1440 1995 -1395
rect 2015 -1440 2025 -1395
rect 1985 -1450 2025 -1440
rect 2085 -1395 2125 -1385
rect 2085 -1440 2095 -1395
rect 2115 -1440 2125 -1395
rect 2085 -1450 2125 -1440
rect 405 -1470 425 -1450
rect 605 -1470 625 -1450
rect 805 -1470 825 -1450
rect 1005 -1470 1025 -1450
rect 1285 -1470 1305 -1450
rect 1485 -1470 1505 -1450
rect 1685 -1470 1705 -1450
rect 1885 -1470 1905 -1450
rect 405 -1490 1905 -1470
rect 60 -1500 100 -1490
<< viali >>
rect 195 -245 215 -200
rect 295 -245 315 -200
rect 495 -245 515 -200
rect 695 -245 715 -200
rect 895 -245 915 -200
rect 1095 -245 1115 -200
rect 1145 -245 1165 -200
rect 1195 -245 1215 -200
rect 1395 -245 1415 -200
rect 1595 -245 1615 -200
rect 1795 -245 1815 -200
rect 1995 -245 2015 -200
rect 2095 -245 2115 -200
rect 95 -705 115 -435
rect 295 -705 315 -435
rect 495 -705 515 -435
rect 695 -705 715 -435
rect 895 -705 915 -435
rect 1095 -705 1115 -435
rect 2095 -705 2115 -435
rect 95 -1195 115 -925
rect 940 -865 960 -840
rect 940 -885 960 -865
rect 2095 -845 2140 -825
rect 1095 -1195 1115 -925
rect 1295 -1195 1315 -925
rect 1495 -1195 1515 -925
rect 1695 -1195 1715 -925
rect 1895 -1195 1915 -925
rect 2095 -1195 2115 -925
rect 1195 -1315 1240 -1295
rect 70 -1375 115 -1355
rect 70 -1490 90 -1445
rect 195 -1440 215 -1395
rect 295 -1440 315 -1395
rect 495 -1440 515 -1395
rect 695 -1440 715 -1395
rect 895 -1440 915 -1395
rect 1095 -1440 1115 -1395
rect 1145 -1440 1165 -1395
rect 1195 -1440 1215 -1395
rect 1395 -1440 1415 -1395
rect 1595 -1440 1615 -1395
rect 1795 -1440 1815 -1395
rect 1995 -1440 2015 -1395
rect 2095 -1440 2115 -1395
<< metal1 >>
rect 180 -200 2130 -190
rect 180 -245 195 -200
rect 215 -245 295 -200
rect 315 -245 495 -200
rect 515 -245 695 -200
rect 715 -245 895 -200
rect 915 -245 1095 -200
rect 1115 -245 1145 -200
rect 1165 -245 1195 -200
rect 1215 -245 1395 -200
rect 1415 -245 1595 -200
rect 1615 -245 1795 -200
rect 1815 -245 1995 -200
rect 2015 -245 2095 -200
rect 2115 -245 2130 -200
rect 180 -255 2130 -245
rect 285 -425 325 -255
rect 2085 -425 2125 -255
rect 60 -435 2125 -425
rect 60 -705 95 -435
rect 115 -705 295 -435
rect 315 -705 495 -435
rect 515 -705 695 -435
rect 715 -705 895 -435
rect 915 -705 1095 -435
rect 1115 -705 2095 -435
rect 2115 -705 2125 -435
rect 60 -715 2125 -705
rect 2085 -825 2150 -815
rect 2085 -830 2095 -825
rect 930 -840 2095 -830
rect 930 -885 940 -840
rect 960 -845 2095 -840
rect 2140 -845 2150 -825
rect 960 -855 2150 -845
rect 960 -885 970 -855
rect 930 -895 970 -885
rect 60 -925 2125 -915
rect 60 -1195 95 -925
rect 115 -1195 1095 -925
rect 1115 -1195 1295 -925
rect 1315 -1195 1495 -925
rect 1515 -1195 1695 -925
rect 1715 -1195 1895 -925
rect 1915 -1195 2095 -925
rect 2115 -1195 2125 -925
rect 60 -1205 2125 -1195
rect 140 -1295 1250 -1285
rect 140 -1315 1195 -1295
rect 1240 -1315 1250 -1295
rect 140 -1325 1250 -1315
rect 60 -1355 125 -1345
rect 60 -1375 70 -1355
rect 115 -1375 125 -1355
rect 60 -1385 125 -1375
rect 140 -1435 165 -1325
rect 1385 -1385 1425 -1205
rect 2085 -1385 2125 -1205
rect 60 -1445 165 -1435
rect 60 -1490 70 -1445
rect 90 -1490 165 -1445
rect 180 -1395 2130 -1385
rect 180 -1440 195 -1395
rect 215 -1440 295 -1395
rect 315 -1440 495 -1395
rect 515 -1440 695 -1395
rect 715 -1440 895 -1395
rect 915 -1440 1095 -1395
rect 1115 -1440 1145 -1395
rect 1165 -1440 1195 -1395
rect 1215 -1440 1395 -1395
rect 1415 -1440 1595 -1395
rect 1615 -1440 1795 -1395
rect 1815 -1440 1995 -1395
rect 2015 -1440 2095 -1395
rect 2115 -1440 2130 -1395
rect 180 -1450 2130 -1440
rect 60 -1500 165 -1490
<< labels >>
rlabel metal1 60 -1055 60 -1055 7 VP
port 1 w
rlabel metal1 60 -570 60 -570 7 VN
port 2 w
rlabel locali 60 -340 60 -340 7 I1p
port 3 w
rlabel locali 60 -745 60 -745 7 Vbn
port 4 w
rlabel locali 60 -1365 60 -1365 7 I1n
port 5 w
rlabel locali 60 -1465 60 -1465 7 Vbp
port 6 w
rlabel locali 2150 -745 2150 -745 3 Vcn
port 8 e
rlabel locali 2150 -835 2150 -835 3 Vcp
port 7 e
<< end >>
